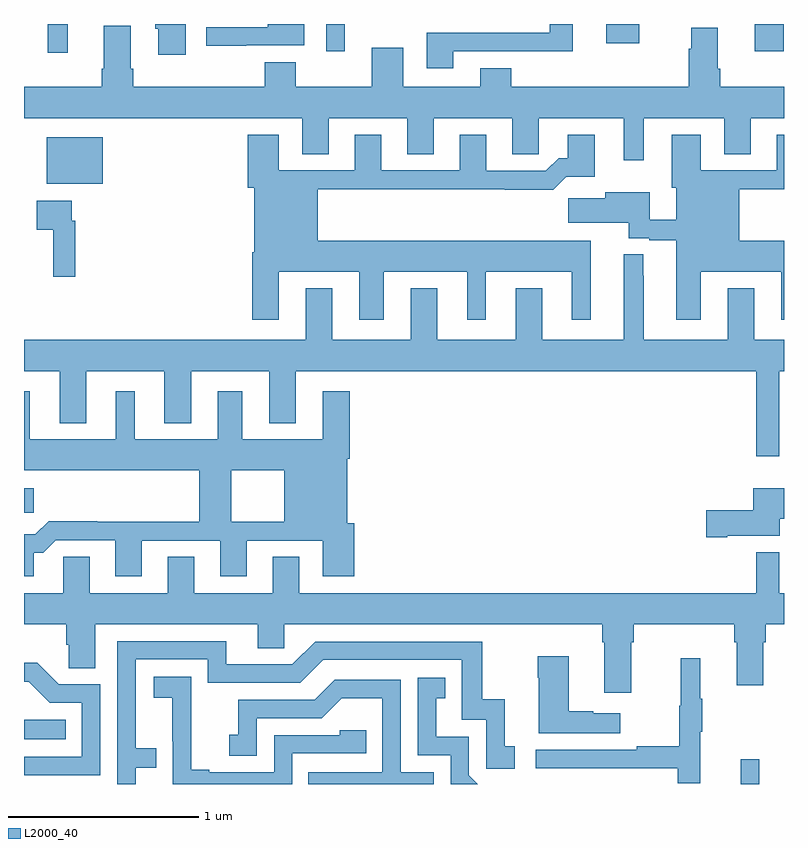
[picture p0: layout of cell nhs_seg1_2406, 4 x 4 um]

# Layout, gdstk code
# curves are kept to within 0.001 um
import gdstk
lib = gdstk.Library(unit=1e-6, precision=1e-09)
def R(c, l, rs):  # rectangles x0, y0, x1, y1
    for r in rs: c.add(gdstk.rectangle(r[:2], r[2:], *l))
def P(c, l, *ps):  # polygons
    for p in ps: c.add(gdstk.Polygon(p, *l))
L2000_40 = (2000, 40)

nhs_seg1_2406 = lib.new_cell('nhs_seg1_2406')
R(nhs_seg1_2406, L2000_40, [(244.773,576.199,244.87,576.328), (241,576.434,241.22,576.538), (241,577.627,241.051,577.756), (241.121,579.359,241.414,579.604), (241.126,580.047,241.229,580.199), (242.592,580.056,242.689,580.199), (244.847,580.056,244.998,580.199), (244.065,580.098,244.237,580.199)])
P(nhs_seg1_2406, L2000_40, [(242.171,580.086),(242.475,580.086),(242.475,580.199),(242.282,580.199),(242.282,580.182),(241.959,580.182),(241.959,580.085),(242.171,580.085)],
  [(241.852,580.199),(241.691,580.199),(241.691,580.173),(241.706,580.173),(241.706,580.038),(241.852,580.038)],
  [(243.259,580.056),(243.671,580.056),(243.671,580.055),(243.889,580.055),(243.889,580.199),(243.768,580.199),(243.768,580.152),(243.119,580.152),(243.119,579.966),(243.259,579.966)],
  [(244.261,579.704),(244.685,579.704),(244.685,579.514),(244.825,579.514),(244.825,579.704),(245,579.704),(245,579.868),(244.664,579.868),(244.664,579.964),(244.651,579.964),(244.651,580.178),(244.511,580.178),(244.511,580.07),(244.499,580.07),(244.499,579.868),(243.565,579.868),(243.565,579.967),(243.401,579.967),(243.401,579.868),(242.995,579.868),(242.995,580.075),(242.831,580.075),(242.831,579.868),(242.431,579.868),(242.431,579.997),(242.267,579.997),(242.267,579.868),(241.574,579.868),(241.574,579.964),(241.561,579.964),(241.561,580.189),(241.421,580.189),(241.421,579.964),(241.409,579.964),(241.409,579.868),(241,579.868),(241,579.704),(242.465,579.704),(242.465,579.514),(242.605,579.514),(242.605,579.704),(243.017,579.704),(243.017,579.514),(243.157,579.514),(243.157,579.704),(243.569,579.704),(243.569,579.514),(243.708,579.514),(243.708,579.704),(244.157,579.704),(244.157,579.483),(244.261,579.483)],
  [(244.561,578.894),(244.985,578.894),(244.985,578.643),(245,578.643),(245,579.058),(244.765,579.058),(244.765,579.328),(245,579.328),(245,579.616),(244.961,579.616),(244.961,579.429),(244.561,579.429),(244.561,579.616),(244.409,579.616),(244.409,579.336),(244.433,579.336),(244.433,579.169),(244.294,579.169),(244.294,579.313),(244.058,579.313),(244.058,579.281),(243.864,579.281),(243.864,579.152),(244.184,579.152),(244.184,579.072),(244.29,579.072),(244.29,579.061),(244.433,579.061),(244.433,578.643),(244.561,578.643)],
  [(242.341,578.894),(242.765,578.894),(242.765,578.643),(242.893,578.643),(242.893,578.894),(243.332,578.894),(243.332,578.643),(243.43,578.643),(243.43,578.894),(243.884,578.894),(243.884,578.643),(243.982,578.643),(243.982,579.058),(242.545,579.058),(242.545,579.328),(243.529,579.328),(243.529,579.326),(243.785,579.326),(243.854,579.395),(244.003,579.395),(244.003,579.616),(243.863,579.616),(243.863,579.493),(243.814,579.493),(243.747,579.426),(243.433,579.426),(243.433,579.616),(243.293,579.616),(243.293,579.429),(242.881,579.429),(242.881,579.616),(242.741,579.616),(242.741,579.429),(242.341,579.429),(242.341,579.616),(242.177,579.616),(242.177,579.336),(242.213,579.336),(242.213,578.998),(242.201,578.998),(242.201,578.643),(242.341,578.643)],
  [(241.271,579.164),(241.251,579.164),(241.251,579.268),(241.068,579.268),(241.068,579.116),(241.154,579.116),(241.154,578.868),(241.271,578.868)],
  [(244.975,578.372),(245,578.372),(245,578.536),(244.843,578.536),(244.843,578.809),(244.703,578.809),(244.703,578.536),(244.261,578.536),(244.261,578.873),(244.26,578.873),(244.26,578.986),(244.157,578.986),(244.157,578.536),(243.727,578.536),(243.727,578.809),(243.587,578.809),(243.587,578.536),(243.175,578.536),(243.175,578.809),(243.035,578.809),(243.035,578.536),(242.623,578.536),(242.623,578.809),(242.483,578.809),(242.483,578.536),(241,578.536),(241,578.372),(241.187,578.372),(241.187,578.099),(241.327,578.099),(241.327,578.372),(241.739,578.372),(241.739,578.099),(241.879,578.099),(241.879,578.372),(242.291,578.372),(242.291,578.099),(242.431,578.099),(242.431,578.372),(244.854,578.372),(244.854,577.923),(244.975,577.923)],
  [(241.385,577.583),(241.13,577.583),(241.06,577.513),(241,577.513),(241,577.293),(241.051,577.293),(241.051,577.415),(241.1,577.415),(241.167,577.482),(241.481,577.482),(241.481,577.293),(241.621,577.293),(241.621,577.479),(242.033,577.479),(242.033,577.293),(242.173,577.293),(242.173,577.479),(242.573,577.479),(242.573,577.293),(242.738,577.293),(242.738,577.572),(242.701,577.572),(242.701,577.91),(242.714,577.91),(242.714,578.266),(242.573,578.266),(242.573,578.014),(242.149,578.014),(242.149,578.266),(242.021,578.266),(242.021,578.014),(241.582,578.014),(241.582,578.266),(241.484,578.266),(241.484,578.014),(241.03,578.014),(241.03,578.266),(241,578.266),(241,577.85),(241.922,577.85),(241.922,577.58),(242.092,577.58),(242.092,577.85),(242.369,577.85),(242.369,577.58),(241.385,577.58)],
  [(244.702,577.505),(244.978,577.505),(244.978,577.595),(245,577.595),(245,577.756),(244.838,577.756),(244.838,577.64),(244.59,577.64),(244.59,577.498),(244.702,577.498)],
  [(242.37,577.04),(244.043,577.04),(244.043,576.944),(244.055,576.944),(244.055,576.678),(244.195,576.678),(244.195,576.944),(244.208,576.944),(244.208,577.04),(244.739,577.04),(244.739,576.944),(244.751,576.944),(244.751,576.72),(244.891,576.72),(244.891,576.944),(244.904,576.944),(244.904,577.04),(245,577.04),(245,577.204),(244.975,577.204),(244.975,577.42),(244.854,577.42),(244.854,577.204),(242.449,577.204),(242.449,577.394),(242.309,577.394),(242.309,577.204),(241.897,577.204),(241.897,577.394),(241.757,577.394),(241.757,577.204),(241.345,577.204),(241.345,577.394),(241.206,577.394),(241.206,577.204),(241,577.204),(241,577.04),(241.223,577.04),(241.223,576.931),(241.236,576.931),(241.236,576.808),(241.375,576.808),(241.375,577.04),(242.231,577.04),(242.231,576.913),(242.37,576.913)],
  [(241.587,576.285),(241.697,576.285),(241.697,576.386),(241.587,576.386),(241.587,576.855),(241.968,576.855),(241.968,576.732),(242.454,576.732),(242.574,576.852),(243.303,576.852),(243.303,576.537),(243.432,576.537),(243.432,576.279),(243.583,576.279),(243.583,576.399),(243.53,576.399),(243.53,576.646),(243.412,576.646),(243.412,576.948),(242.532,576.948),(242.412,576.828),(242.065,576.828),(242.065,576.951),(241.491,576.951),(241.491,576.199),(241.587,576.199)],
  [(244.138,576.571),(243.995,576.571),(243.995,576.581),(243.868,576.581),(243.868,576.871),(243.703,576.871),(243.703,576.758),(243.71,576.758),(243.71,576.467),(244.138,576.467)],
  [(244.559,576.475),(244.57,576.475),(244.57,576.649),(244.559,576.649),(244.559,576.862),(244.456,576.862),(244.456,576.612),(244.449,576.612),(244.449,576.398),(244.225,576.398),(244.225,576.378),(243.693,576.378),(243.693,576.282),(244.441,576.282),(244.441,576.204),(244.559,576.204)],
  [(241.401,576.723),(241.182,576.723),(241.069,576.836),(241,576.836),(241,576.738),(241.025,576.738),(241.136,576.627),(241.305,576.627),(241.305,576.342),(241,576.342),(241,576.246),(241.401,576.246)],
  [(242.412,576.36),(242.801,576.36),(242.801,576.483),(242.661,576.483),(242.661,576.456),(242.316,576.456),(242.316,576.261),(241.975,576.261),(241.975,576.274),(241.88,576.274),(241.88,576.557),(241.881,576.557),(241.881,576.763),(241.683,576.763),(241.683,576.653),(241.781,576.653),(241.781,576.425),(241.782,576.425),(241.782,576.199),(242.412,576.199)],
  [(243.342,576.246),(243.342,576.447),(243.169,576.447),(243.169,576.651),(243.218,576.651),(243.218,576.757),(243.072,576.757),(243.072,576.351),(243.246,576.351),(243.246,576.199),(243.389,576.199)],
  [(243.156,576.261),(242.982,576.261),(242.982,576.747),(242.636,576.747),(242.531,576.642),(242.128,576.642),(242.128,576.457),(242.079,576.457),(242.079,576.348),(242.226,576.348),(242.226,576.546),(242.568,576.546),(242.672,576.65),(242.886,576.65),(242.886,576.261),(242.497,576.261),(242.497,576.199),(243.156,576.199)])

lib.write_gds('nhs_seg1_2406.gds')
